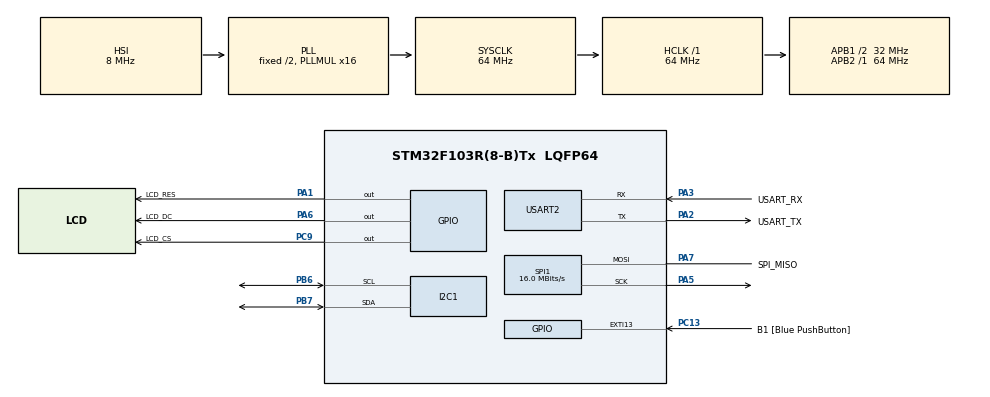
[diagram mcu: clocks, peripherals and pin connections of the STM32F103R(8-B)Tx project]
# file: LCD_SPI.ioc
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Mcu.Family=STM32F1
Mcu.Name=STM32F103R(8-B)Tx
Mcu.Package=LQFP64
NVIC.EXTI15_10_IRQn=true\:0\:0\:false\:false\:true\:true\:true\:true
NVIC.PriorityGroup=NVIC_PRIORITYGROUP_4
PA1.GPIO_Label=LCD_RES
PA1.Signal=GPIO_Output
PA13.GPIO_Label=TMS
PA13.Mode=Serial_Wire
PA13.Signal=SYS_JTMS-SWDIO
PA14.GPIO_Label=TCK
PA14.Mode=Serial_Wire
PA14.Signal=SYS_JTCK-SWCLK
PA2.GPIO_Label=USART_TX
PA2.GPIO_Mode=GPIO_MODE_AF_PP
PA2.GPIO_PuPd=GPIO_NOPULL
PA2.GPIO_Speed=GPIO_SPEED_FREQ_LOW
PA2.Mode=Asynchronous
PA2.Signal=USART2_TX
PA3.GPIO_Label=USART_RX
PA3.GPIO_Mode=GPIO_MODE_AF_PP
PA3.GPIO_PuPd=GPIO_NOPULL
PA3.GPIO_Speed=GPIO_SPEED_FREQ_LOW
PA3.Mode=Asynchronous
PA3.Signal=USART2_RX
PA5.Mode=Simplex_Bidirectional_Master
PA5.Signal=SPI1_SCK
PA6.GPIO_Label=LCD_DC
PA6.Signal=GPIO_Output
PA7.GPIO_Label=SPI_MISO
PA7.Mode=Simplex_Bidirectional_Master
PA7.Signal=SPI1_MOSI
PB3.GPIO_Label=SWO
PB3.Signal=SYS_JTDO-TRACESWO
PB6.Mode=I2C
PB6.Signal=I2C1_SCL
PB7.Mode=I2C
PB7.Signal=I2C1_SDA
PC13-TAMPER-RTC.GPIO_Label=B1 [Blue PushButton]
PC13-TAMPER-RTC.GPIO_PuPd=GPIO_NOPULL
PC13-TAMPER-RTC.Signal=GPXTI13
PC14-OSC32_IN.Signal=RCC_OSC32_IN
PC15-OSC32_OUT.Signal=RCC_OSC32_OUT
PC9.GPIO_Label=LCD_CS
PC9.Signal=GPIO_Output
PD0-OSC_IN.Signal=RCC_OSC_IN
PD1-OSC_OUT.Signal=RCC_OSC_OUT
ProjectManager.HeapSize=0x200
ProjectManager.StackSize=0x400
ProjectManager.TargetToolchain=STM32CubeIDE
RCC.AHBFreq_Value=64000000
RCC.APB1CLKDivider=RCC_HCLK_DIV2
RCC.APB1Freq_Value=32000000
RCC.APB1TimFreq_Value=64000000
RCC.APB2Freq_Value=64000000
RCC.APB2TimFreq_Value=64000000
RCC.HCLKFreq_Value=64000000
RCC.PLLMUL=RCC_PLL_MUL16
RCC.RTCClockSelection=RCC_RTCCLKSOURCE_LSE
RCC.SYSCLKFreq_VALUE=64000000
RCC.SYSCLKSource=RCC_SYSCLKSOURCE_PLLCLK
RCC.USBFreq_Value=64000000
SPI1.BaudRatePrescaler=SPI_BAUDRATEPRESCALER_4
SPI1.CalculateBaudRate=16.0 MBits/s
SPI1.Direction=SPI_DIRECTION_1LINE
SPI1.Mode=SPI_MODE_MASTER
SPI1.VirtualType=VM_MASTER
USART2.VirtualMode=VM_ASYNC
board=NUCLEO-F103RB

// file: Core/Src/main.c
/* USER CODE BEGIN Header */
/**
  ******************************************************************************
  * @file           : main.c
  * @brief          : Main program body
  ******************************************************************************
  * @attention
  *
  * Copyright (c) 2025 STMicroelectronics.
  * All rights reserved.
  *
  * This software is licensed under terms that can be found in the LICENSE file
  * in the root directory of this software component.
  * If no LICENSE file comes with this software, it is provided AS-IS.
  *
  ******************************************************************************
  */
/* USER CODE END Header */
#include "main.h"

/* USER CODE BEGIN Includes */
#include <string.h>
#include <stdio.h>
/* USER CODE END Includes */

/* USER CODE BEGIN PD */

#define K24C256_ADDR        0xA0    // K24C256 I2C 주소 (A0,A1,A2 = 000)
#define EEPROM_PAGE_SIZE    64      // K24C256 페이지 크기 (64 bytes)
#define EEPROM_SIZE         32768   // K24C256 총 크기 (32KB)
#define TEST_ADDRESS        0x0000  // 테스트용 주소
// ST7735S Commands
#define ST7735_NOP     0x00
#define ST7735_SWRESET 0x01
#define ST7735_RDDID   0x04
#define ST7735_RDDST   0x09
#define ST7735_SLPIN   0x10
#define ST7735_SLPOUT  0x11
#define ST7735_PTLON   0x12
#define ST7735_NORON   0x13
#define ST7735_INVOFF  0x20
#define ST7735_INVON   0x21
#define ST7735_DISPOFF 0x28
#define ST7735_DISPON  0x29
#define ST7735_CASET   0x2A
#define ST7735_RASET   0x2B
#define ST7735_RAMWR   0x2C
#define ST7735_RAMRD   0x2E
#define ST7735_PTLAR   0x30
#define ST7735_COLMOD  0x3A
#define ST7735_MADCTL  0x36
#define ST7735_FRMCTR1 0xB1
#define ST7735_FRMCTR2 0xB2
#define ST7735_FRMCTR3 0xB3
#define ST7735_INVCTR  0xB4
#define ST7735_DISSET5 0xB6
#define ST7735_PWCTR1  0xC0
#define ST7735_PWCTR2  0xC1
#define ST7735_PWCTR3  0xC2
#define ST7735_PWCTR4  0xC3
#define ST7735_PWCTR5  0xC4
#define ST7735_VMCTR1  0xC5
#define ST7735_RDID1   0xDA
#define ST7735_RDID2   0xDB
#define ST7735_RDID3   0xDC
#define ST7735_RDID4   0xDD
#define ST7735_GMCTRP1 0xE0
#define ST7735_GMCTRN1 0xE1

// LCD dimensions
#define LCD_WIDTH  160
#define LCD_HEIGHT 120 //80

// Colors (RGB565)
#define BLACK   0x0000
#define WHITE   0xFFFF
#define RED     0xF800
#define GREEN   0x07E0
#define BLUE    0x001F
#define CYAN    0x07FF
#define MAGENTA 0xF81F
#define YELLOW  0xFFE0
#define BROWN 0x9A40 // 갈색 (대략적인 값)
/* USER CODE END PD */

/* USER CODE BEGIN PM */
// Pin control macros
#define LCD_CS_LOW()   HAL_GPIO_WritePin(GPIOC, GPIO_PIN_9, GPIO_PIN_RESET)
#define LCD_CS_HIGH()  HAL_GPIO_WritePin(GPIOC, GPIO_PIN_9, GPIO_PIN_SET)
#define LCD_DC_LOW()   HAL_GPIO_WritePin(GPIOA, GPIO_PIN_6, GPIO_PIN_RESET)
#define LCD_DC_HIGH()  HAL_GPIO_WritePin(GPIOA, GPIO_PIN_6, GPIO_PIN_SET)
#define LCD_RES_LOW()  HAL_GPIO_WritePin(GPIOA, GPIO_PIN_1, GPIO_PIN_RESET)
#define LCD_RES_HIGH() HAL_GPIO_WritePin(GPIOA, GPIO_PIN_1, GPIO_PIN_SET)
/* USER CODE END PM */

I2C_HandleTypeDef hi2c1;

SPI_HandleTypeDef hspi1;

UART_HandleTypeDef huart2;

/* USER CODE BEGIN PV */

uint8_t i2c_scan_found = 0;
uint8_t eeprom_address = 0;
// Simple 8x8 font (ASCII 32-127) - subset for demonstration
static const uint8_t font8x8[][8] = {
    {0x00, 0x00, 0x00, 0x00, 0x00, 0x00, 0x00, 0x00}, // ' ' (Space)
    {0x18, 0x3C, 0x3C, 0x18, 0x18, 0x00, 0x18, 0x00}, // '!'
    {0x36, 0x36, 0x00, 0x00, 0x00, 0x00, 0x00, 0x00}, // '"'
    {0x36, 0x36, 0x7F, 0x36, 0x7F, 0x36, 0x36, 0x00}, // '#'
    {0x0C, 0x3E, 0x03, 0x1E, 0x30, 0x1F, 0x0C, 0x00}, // '$'
    {0x00, 0x63, 0x33, 0x18, 0x0C, 0x66, 0x63, 0x00}, // '%'
    {0x1C, 0x36, 0x1C, 0x6E, 0x3B, 0x33, 0x6E, 0x00}, // '&'
    {0x06, 0x06, 0x03, 0x00, 0x00, 0x00, 0x00, 0x00}, // '''
    {0x18, 0x0C, 0x06, 0x06, 0x06, 0x0C, 0x18, 0x00}, // '('
    {0x06, 0x0C, 0x18, 0x18, 0x18, 0x0C, 0x06, 0x00}, // ')'
    {0x00, 0x66, 0x3C, 0xFF, 0x3C, 0x66, 0x00, 0x00}, // '*'
    {0x00, 0x0C, 0x0C, 0x3F, 0x0C, 0x0C, 0x00, 0x00}, // '+'
    {0x00, 0x00, 0x00, 0x00, 0x00, 0x0C, 0x06, 0x00}, // ','
    {0x00, 0x00, 0x00, 0x3F, 0x00, 0x00, 0x00, 0x00}, // '-'
    {0x00, 0x00, 0x00, 0x00, 0x00, 0x0C, 0x0C, 0x00}, // '.'
    {0x60, 0x30, 0x18, 0x0C, 0x06, 0x03, 0x01, 0x00}, // '/'
    {0x3E, 0x63, 0x73, 0x7B, 0x6F, 0x67, 0x3E, 0x00}, // '0'
    {0x0C, 0x0E, 0x0C, 0x0C, 0x0C, 0x0C, 0x3F, 0x00}, // '1'
    {0x1E, 0x33, 0x30, 0x1C, 0x06, 0x33, 0x3F, 0x00}, // '2'
    {0x1E, 0x33, 0x30, 0x1C, 0x30, 0x33, 0x1E, 0x00}, // '3'
    {0x38, 0x3C, 0x36, 0x33, 0x7F, 0x30, 0x78, 0x00}, // '4'
    {0x3F, 0x03, 0x1F, 0x30, 0x30, 0x33, 0x1E, 0x00}, // '5'
    {0x1C, 0x06, 0x03, 0x1F, 0x33, 0x33, 0x1E, 0x00}, // '6'
    {0x3F, 0x33, 0x30, 0x18, 0x0C, 0x0C, 0x0C, 0x00}, // '7'
    {0x1E, 0x33, 0x33, 0x1E, 0x33, 0x33, 0x1E, 0x00}, // '8'
    {0x1E, 0x33, 0x33, 0x3E, 0x30, 0x18, 0x0E, 0x00}, // '9'
    {0x00, 0x0C, 0x0C, 0x00, 0x00, 0x0C, 0x0C, 0x00}, // ':'
    {0x00, 0x0C, 0x0C, 0x00, 0x00, 0x0C, 0x06, 0x00}, // ';'
    {0x18, 0x0C, 0x06, 0x03, 0x06, 0x0C, 0x18, 0x00}, // '<'
    {0x00, 0x00, 0x3F, 0x00, 0x00, 0x3F, 0x00, 0x00}, // '='
    {0x06, 0x0C, 0x18, 0x30, 0x18, 0x0C, 0x06, 0x00}, // '>'
    {0x1E, 0x33, 0x30, 0x18, 0x0C, 0x00, 0x0C, 0x00}, // '?'
    {0x3E, 0x63, 0x7B, 0x7B, 0x7B, 0x03, 0x1E, 0x00}, // '@'
    {0x0C, 0x1E, 0x33, 0x33, 0x3F, 0x33, 0x33, 0x00}, // 'A'
    {0x3F, 0x66, 0x66, 0x3E, 0x66, 0x66, 0x3F, 0x00}, // 'B'
    {0x3C, 0x66, 0x03, 0x03, 0x03, 0x66, 0x3C, 0x00}, // 'C'
    {0x1F, 0x36, 0x66, 0x66, 0x66, 0x36, 0x1F, 0x00}, // 'D'
    {0x7F, 0x46, 0x16, 0x1E, 0x16, 0x46, 0x7F, 0x00}, // 'E'
    {0x7F, 0x46, 0x16, 0x1E, 0x16, 0x06, 0x0F, 0x00}, // 'F'
    {0x3C, 0x66, 0x03, 0x03, 0x73, 0x66, 0x7C, 0x00}, // 'G'
    {0x33, 0x33, 0x33, 0x3F, 0x33, 0x33, 0x33, 0x00}, // 'H'
    {0x1E, 0x0C, 0x0C, 0x0C, 0x0C, 0x0C, 0x1E, 0x00}, // 'I'
    {0x78, 0x30, 0x30, 0x30, 0x33, 0x33, 0x1E, 0x00}, // 'J'
    {0x67, 0x66, 0x36, 0x1E, 0x36, 0x66, 0x67, 0x00}, // 'K'
    {0x0F, 0x06, 0x06, 0x06, 0x46, 0x66, 0x7F, 0x00}, // 'L'
    {0x63, 0x77, 0x7F, 0x7F, 0x6B, 0x63, 0x63, 0x00}, // 'M'
    {0x63, 0x67, 0x6F, 0x7B, 0x73, 0x63, 0x63, 0x00}, // 'N'
    {0x1C, 0x36, 0x63, 0x63, 0x63, 0x36, 0x1C, 0x00}, // 'O'
    {0x3F, 0x66, 0x66, 0x3E, 0x06, 0x06, 0x0F, 0x00}, // 'P'
    {0x1E, 0x33, 0x33, 0x33, 0x3B, 0x1E, 0x38, 0x00}, // 'Q'
    {0x3F, 0x66, 0x66, 0x3E, 0x36, 0x66, 0x67, 0x00}, // 'R'
    {0x1E, 0x33, 0x07, 0x0E, 0x38, 0x33, 0x1E, 0x00}, // 'S'
    {0x3F, 0x2D, 0x0C, 0x0C, 0x0C, 0x0C, 0x1E, 0x00}, // 'T'
    {0x33, 0x33, 0x33, 0x33, 0x33, 0x33, 0x3F, 0x00}, // 'U'
    {0x33, 0x33, 0x33, 0x33, 0x33, 0x1E, 0x0C, 0x00}, // 'V'
    {0x63, 0x63, 0x63, 0x6B, 0x7F, 0x77, 0x63, 0x00}, // 'W'
    {0x63, 0x63, 0x36, 0x1C, 0x1C, 0x36, 0x63, 0x00}, // 'X'
    {0x33, 0x33, 0x33, 0x1E, 0x0C, 0x0C, 0x1E, 0x00}, // 'Y'
    {0x7F, 0x63, 0x31, 0x18, 0x4C, 0x66, 0x7F, 0x00}, // 'Z'
    {0x1E, 0x06, 0x06, 0x06, 0x06, 0x06, 0x1E, 0x00}, // '['
    {0x03, 0x06, 0x0C, 0x18, 0x30, 0x60, 0x40, 0x00}, // '\'
    {0x1E, 0x18, 0x18, 0x18, 0x18, 0x18, 0x1E, 0x00}, // ']'
    {0x08, 0x1C, 0x36, 0x63, 0x00, 0x00, 0x00, 0x00}, // '^'
    {0x00, 0x00, 0x00, 0x00, 0x00, 0x00, 0x00, 0xFF}, // '_'
    {0x0C, 0x0C, 0x18, 0x00, 0x00, 0x00, 0x00, 0x00}, // '`'
    {0x00, 0x00, 0x1E, 0x30, 0x3E, 0x33, 0x6E, 0x00}, // 'a'
    {0x07, 0x06, 0x06, 0x3E, 0x66, 0x66, 0x3B, 0x00}, // 'b'
    {0x00, 0x00, 0x1E, 0x33, 0x03, 0x33, 0x1E, 0x00}, // 'c'
    {0x38, 0x30, 0x30, 0x3e, 0x33, 0x33, 0x6E, 0x00}, // 'd'
    {0x00, 0x00, 0x1E, 0x33, 0x3f, 0x03, 0x1E, 0x00}, // 'e'
    {0x1C, 0x36, 0x06, 0x0f, 0x06, 0x06, 0x0F, 0x00}, // 'f'
    {0x00, 0x00, 0x6E, 0x33, 0x33, 0x3E, 0x30, 0x1F}, // 'g'
    {0x07, 0x06, 0x36, 0x6E, 0x66, 0x66, 0x67, 0x00}, // 'h'
    {0x0C, 0x00, 0x0E, 0x0C, 0x0C, 0x0C, 0x1E, 0x00}, // 'i'
    {0x30, 0x00, 0x30, 0x30, 0x30, 0x33, 0x33, 0x1E}, // 'j'
    {0x07, 0x06, 0x66, 0x36, 0x1E, 0x36, 0x67, 0x00}, // 'k'
    {0x0E, 0x0C, 0x0C, 0x0C, 0x0C, 0x0C, 0x1E, 0x00}, // 'l'
    {0x00, 0x00, 0x33, 0x7F, 0x7F, 0x6B, 0x63, 0x00}, // 'm'
    {0x00, 0x00, 0x1F, 0x33, 0x33, 0x33, 0x33, 0x00}, // 'n'
    {0x00, 0x00, 0x1E, 0x33, 0x33, 0x33, 0x1E, 0x00}, // 'o'
    {0x00, 0x00, 0x3B, 0x66, 0x66, 0x3E, 0x06, 0x0F}, // 'p'
    {0x00, 0x00, 0x6E, 0x33, 0x33, 0x3E, 0x30, 0x78}, // 'q'
    {0x00, 0x00, 0x3B, 0x6E, 0x66, 0x06, 0x0F, 0x00}, // 'r'
    {0x00, 0x00, 0x3E, 0x03, 0x1E, 0x30, 0x1F, 0x00}, // 's'
    {0x08, 0x0C, 0x3E, 0x0C, 0x0C, 0x2C, 0x18, 0x00}, // 't'
    {0x00, 0x00, 0x33, 0x33, 0x33, 0x33, 0x6E, 0x00}, // 'u'
    {0x00, 0x00, 0x33, 0x33, 0x33, 0x1E, 0x0C, 0x00}, // 'v'
    {0x00, 0x00, 0x63, 0x6B, 0x7F, 0x7F, 0x36, 0x00}, // 'w'
    {0x00, 0x00, 0x63, 0x36, 0x1C, 0x36, 0x63, 0x00}, // 'x'
    {0x00, 0x00, 0x33, 0x33, 0x33, 0x3E, 0x30, 0x1F}, // 'y'
    {0x00, 0x00, 0x3F, 0x19, 0x0C, 0x26, 0x3F, 0x00}, // 'z'
    {0x38, 0x0C, 0x0C, 0x07, 0x0C, 0x0C, 0x38, 0x00}, // '{'
    {0x18, 0x18, 0x18, 0x00, 0x18, 0x18, 0x18, 0x00}, // '|'
    {0x07, 0x0C, 0x0C, 0x38, 0x0C, 0x0C, 0x07, 0x00}, // '}'
    {0x6E, 0x3B, 0x00, 0x00, 0x00, 0x00, 0x00, 0x00}, // '~'
};
/* USER CODE END PV */

void SystemClock_Config(void);
static void MX_GPIO_Init(void);
static void MX_USART2_UART_Init(void);
static void MX_SPI1_Init(void);
static void MX_I2C1_Init(void);
/* USER CODE BEGIN PFP */

void I2C_Scan(void);
HAL_StatusTypeDef EEPROM_Write(uint16_t mem_addr, uint8_t *data, uint16_t size);
HAL_StatusTypeDef EEPROM_Read(uint16_t mem_addr, uint8_t *data, uint16_t size);
void EEPROM_Test(void);
void Test_0xB0_Device(void);
// LCD function prototypes
void LCD_WriteCommand(uint8_t cmd);
void LCD_WriteData(uint8_t data);
void LCD_WriteData16(uint16_t data);
void LCD_Init(void);
void LCD_SetWindow(uint8_t x0, uint8_t y0, uint8_t x1, uint8_t y1);
void LCD_DrawPixel(uint8_t x, uint8_t y, uint16_t color);
void LCD_Fill(uint16_t color);
void LCD_DrawChar(uint8_t x, uint8_t y, char ch, uint16_t color, uint16_t bg_color);
void LCD_DrawString(uint8_t x, uint8_t y, const char* str, uint16_t color, uint16_t bg_color);
/* USER CODE END PFP */

/* USER CODE BEGIN 0 */

#ifdef __GNUC__
/* With GCC, small printf (option LD Linker->Libraries->Small printf
   set to 'Yes') calls __io_putchar() */
#define PUTCHAR_PROTOTYPE int __io_putchar(int ch)
#else
#define PUTCHAR_PROTOTYPE int fputc(int ch, FILE *f)
#endif /* __GNUC__ */

/**
  * @brief  Retargets the C library printf function to the USART.
  * @param  None
  * @retval None
  */
PUTCHAR_PROTOTYPE
{
  /* Place your implementation of fputc here */
  /* e.g. write a character to the USART2 and Loop until the end of transmission */
  if (ch == '\n')
    HAL_UART_Transmit(&huart2, (uint8_t*)"\r", 1, 0xFFFF);
  HAL_UART_Transmit(&huart2, (uint8_t*)&ch, 1, 0xFFFF);

  return ch;
}

/**
  * @brief  I2C 주소 스캔 함수
  * @param  None
  * @retval None
  */
void I2C_Scan(void)
{
  printf("\n=== I2C Address Scan ===\n");
  printf("Scanning I2C bus...\n");

  i2c_scan_found = 0;

  for(uint8_t i = 0; i < 128; i++) // 7비트 주소(i) 0부터 127까지 반복
  {
    if(HAL_I2C_IsDeviceReady(&hi2c1, (uint16_t)(i<<1), 3, 5) == HAL_OK)
    	// I2C 주소를 8비트 형식으로 받음, 왼쪽으로 1비트 쉬프트 하면 7비트(i)가 8비트 슬레이브 주소로 만들어짐
    	// 슬레이브 주소: 특정 장치 호출할 때 사용, 지금은 EEPROM 장치의 주소가 되는 거임
    	//HAL_I2C_IsDeviceReady(사용할 I2C, 8비트 슬레이브 주소, 시도횟수, 타임아웃시간) == 응답 반환
    {
      printf("Found I2C device at address: 0x%02X (7-bit: 0x%02X)\n", (i<<1), i);
      i2c_scan_found++;

      // K24C256 주소 범위 확인 (0xA0~0xAE) 왜 이 범위인 거임?
      // 1010 A2 A1 A0
      // 상위 4비트: 고정값, EEPROM 종류를 나타내는 디바이스 타입 코드
      // 하위 3비트: EEPROM 칩의 A2, A1, A0 핀을 GND나 VCC에 연결하여 설정하는 하드웨어 주소

      if((i<<1) >= 0xA0 && (i<<1) <= 0xAE)
      {
        eeprom_address = (i<<1); // 응답 주소가 범위 내에 있으면, 해당 주소를 저장하고 테스트에 활용
        printf("** K24C256 EEPROM detected at 0x%02X **\n", eeprom_address);
      }
    }
  }

  if(i2c_scan_found == 0)
  {
    printf("No I2C devices found!\n");
  }
  else
  {
    printf("Total %d I2C device(s) found.\n", i2c_scan_found);
  }
  printf("========================\n\n");
}

/**
  * @brief  EEPROM 쓰기 함수
  * @param  mem_addr: 메모리 주소
  * @param  data: 쓸 데이터 포인터
  * @param  size: 데이터 크기
  * @retval HAL_StatusTypeDef
  */
HAL_StatusTypeDef EEPROM_Write(uint16_t mem_addr, uint8_t *data, uint16_t size)
{
  HAL_StatusTypeDef status = HAL_OK;
  uint16_t bytes_to_write;
  uint16_t current_addr = mem_addr;
  uint16_t data_index = 0;

  while(size > 0)
  {
    // 페이지 경계를 고려한 쓰기 크기 계산
    bytes_to_write = EEPROM_PAGE_SIZE - (current_addr % EEPROM_PAGE_SIZE);
    if(bytes_to_write > size)
      bytes_to_write = size;

    // EEPROM에 쓰기
    status = HAL_I2C_Mem_Write(&hi2c1, eeprom_address, current_addr,I2C_MEMADD_SIZE_16BIT, &data[data_index], bytes_to_write, HAL_MAX_DELAY);

    if(status != HAL_OK)
    {
      printf("EEPROM Write Error at address 0x%04X\n", current_addr);
      return status;
    }

    // EEPROM 쓰기 완료 대기 (Write Cycle Time)
    HAL_Delay(5);

    // 다음 쓰기를 위한 변수 업데이트
    current_addr += bytes_to_write;
    data_index += bytes_to_write;
    size -= bytes_to_write;
  }

  return status;
}

/**
  * @brief  EEPROM 읽기 함수
  * @param  mem_addr: 메모리 주소
  * @param  data: 읽을 데이터 포인터
  * @param  size: 데이터 크기
  * @retval HAL_StatusTypeDef
  */
HAL_StatusTypeDef EEPROM_Read(uint16_t mem_addr, uint8_t *data, uint16_t size)
{
  return HAL_I2C_Mem_Read(&hi2c1, eeprom_address, mem_addr, I2C_MEMADD_SIZE_16BIT, data, size, HAL_MAX_DELAY);
}

/**
  * @brief  EEPROM 테스트 함수
  * @param  None
  * @retval None
  */
void EEPROM_Test(void)
{
  if(eeprom_address == 0)
  {
    printf("EEPROM not detected! Cannot perform test.\n\n");
    return;
  }

  printf("=== EEPROM Test ===\n");

  // 테스트 데이터 준비
  char write_data[] = "Hello, STM32F103 with K24C256 EEPROM!";
  uint8_t read_data[100] = {0};
  uint16_t data_len = strlen(write_data);

  printf("Test Address: 0x%04X\n", TEST_ADDRESS);
  printf("Write Data: \"%s\" (%d bytes)\n", write_data, data_len);

  // EEPROM에 데이터 쓰기
  printf("Writing to EEPROM...\n");
  if(EEPROM_Write(TEST_ADDRESS, (uint8_t*)write_data, data_len) == HAL_OK)
  {
    printf("Write successful!\n");
  }
  else
  {
    printf("Write failed!\n");
    return;
  }

  // 잠시 대기
  HAL_Delay(10);

  // EEPROM에서 데이터 읽기
  printf("Reading from EEPROM...\n");
  if(EEPROM_Read(TEST_ADDRESS, read_data, data_len) == HAL_OK)
  {
    printf("Read successful!\n");
    printf("Read Data: \"%s\" (%d bytes)\n", (char*)read_data, data_len);

    // 데이터 비교
    if(memcmp(write_data, read_data, data_len) == 0)
    {
      printf("** Data verification PASSED! **\n");
    }
    else
    {
      printf("** Data verification FAILED! **\n");
    }
  }
  else
  {
    printf("Read failed!\n");
  }

  printf("===================\n\n");

  // 추가 테스트: 숫자 데이터
  printf("=== Number Data Test ===\n");
  uint8_t num_write[10] = {0, 1, 2, 3, 4, 5, 6, 7, 8, 9};
  uint8_t num_read[10] = {0};
  uint16_t num_addr = TEST_ADDRESS + 100;

  printf("Writing numbers 0-9 to address 0x%04X...\n", num_addr);
  if(EEPROM_Write(num_addr, num_write, 10) == HAL_OK)
  {
    HAL_Delay(10);

    if(EEPROM_Read(num_addr, num_read, 10) == HAL_OK)
    {
      printf("Write Data: ");
      for(int i = 0; i < 10; i++) printf("%d ", num_write[i]);
      printf("\n");

      printf("Read Data:  ");
      for(int i = 0; i < 10; i++) printf("%d ", num_read[i]);
      printf("\n");

      if(memcmp(num_write, num_read, 10) == 0)
      {
        printf("** Number test PASSED! **\n");
      }
      else
      {
        printf("** Number test FAILED! **\n");
      }
    }
  }
  printf("========================\n\n");
}

void Test_0xB0_Device(void)
{
  printf("=== Testing 0xB0 Device Identity ===\n");
  printf("Checking if 0xB0 is an extended memory block...\n\n");

  uint8_t write_data[] = "Block1Test";
  uint8_t read_data[20] = {0};
  uint16_t test_addr = 0x0100;
  HAL_StatusTypeDef status;

  // 테스트 1: EEPROM처럼 동작하는지 확인
  printf("Test 1: Writing to 0xB0 at address 0x%04X...\n", test_addr);
  status = HAL_I2C_Mem_Write(&hi2c1, 0xB0, test_addr,
                             I2C_MEMADD_SIZE_16BIT, write_data,
                             strlen((char*)write_data), HAL_MAX_DELAY);

  if(status == HAL_OK)
  {
    printf("  Write to 0xB0: SUCCESS\n");
    HAL_Delay(10);

    // 읽기 시도
    printf("Test 2: Reading from 0xB0 at address 0x%04X...\n", test_addr);
    status = HAL_I2C_Mem_Read(&hi2c1, 0xB0, test_addr,
                              I2C_MEMADD_SIZE_16BIT, read_data,
                              strlen((char*)write_data), HAL_MAX_DELAY);

    if(status == HAL_OK)
    {
      printf("  Read from 0xB0: SUCCESS\n");
      printf("  Write Data: \"%s\"\n", write_data);
      printf("  Read Data:  \"%s\"\n", read_data);

      if(memcmp(write_data, read_data, strlen((char*)write_data)) == 0)
      {
        printf("\n** 0xB0 IS A VALID EEPROM BLOCK! **\n");
        printf("** Your chip is likely 64KB (512Kbit), not 32KB! **\n");
        printf("** Block 0 (0xA0): 32KB **\n");
        printf("** Block 1 (0xB0): 32KB **\n");
        printf("** Total: 64KB available! **\n");
      }
      else
      {
        printf("\n** Data mismatch - 0xB0 behavior unclear **\n");
      }
    }
    else
    {
      printf("  Read from 0xB0: FAILED\n");
      printf("** 0xB0 accepts write but not read - unusual device **\n");
    }
  }
  else
  {
    printf("  Write to 0xB0: FAILED\n");

    // 테스트 3: 다른 프로토콜 시도
    printf("\nTest 3: Trying different access methods...\n");

    // 8비트 주소로 시도
    status = HAL_I2C_Mem_Read(&hi2c1, 0xB0, 0x00,
                              I2C_MEMADD_SIZE_8BIT, read_data, 8, 1000);
    if(status == HAL_OK)
    {
      printf("  8-bit address read: SUCCESS\n");
      printf("  Data: ");
      for(int i=0; i<8; i++) printf("%02X ", read_data[i]);
      printf("\n");
      printf("** 0xB0 is likely an RTC, sensor, or other I2C device **\n");
    }
    else
    {
      // 단순 수신 시도
      status = HAL_I2C_Master_Receive(&hi2c1, 0xB0, read_data, 8, 1000);
      if(status == HAL_OK)
      {
        printf("  Simple receive: SUCCESS\n");
        printf("  Data: ");
        for(int i=0; i<8; i++) printf("%02X ", read_data[i]);
        printf("\n");
        printf("** 0xB0 responds but protocol unclear **\n");
      }
      else
      {
        printf("  All access methods: FAILED\n");
        printf("** 0xB0 detected but not accessible **\n");
        printf("** Possible ghost address or bus issue **\n");
      }
    }
  }

  // 크로스 체크: 0xA0와 0xB0가 같은 메모리를 공유하는지 확인
  printf("\nTest 4: Cross-check with 0xA0...\n");
  memset(read_data, 0, sizeof(read_data));

  // 0xA0에 특별한 데이터 쓰기
  uint8_t marker[] = "CrossCheck";
  if(EEPROM_Write(0x0200, marker, strlen((char*)marker)) == HAL_OK)
  {
    HAL_Delay(10);

    // 0xB0의 같은 주소에서 읽기 시도
    status = HAL_I2C_Mem_Read(&hi2c1, 0xB0, 0x0200,
                              I2C_MEMADD_SIZE_16BIT, read_data,
                              strlen((char*)marker), HAL_MAX_DELAY);

    if(status == HAL_OK)
    {
      printf("  0xB0 read at 0x0200: SUCCESS\n");
      printf("  0xA0 wrote: \"%s\"\n", marker);
      printf("  0xB0 read:  \"%s\"\n", read_data);

      if(memcmp(marker, read_data, strlen((char*)marker)) == 0)
      {
        printf("\n** 0xA0 and 0xB0 share SAME memory! **\n");
        printf("** 0xB0 is an ALIAS of 0xA0 - same 32KB chip **\n");
        printf("** Your chip reports multiple addresses **\n");
      }
      else
      {
        printf("\n** 0xA0 and 0xB0 have DIFFERENT data! **\n");
        printf("** They are INDEPENDENT memory blocks **\n");
        printf("** Total 64KB confirmed! **\n");
      }
    }
    else
    {
      printf("  0xB0 read at 0x0200: FAILED\n");
      printf("** Cannot determine relationship **\n");
    }
  }

  printf("====================================\n\n");
}

void LCD_WriteCommand(uint8_t cmd) {
    LCD_CS_LOW();
    LCD_DC_LOW();
    HAL_SPI_Transmit(&hspi1, &cmd, 1, HAL_MAX_DELAY);
    LCD_CS_HIGH();
}

void LCD_WriteData(uint8_t data) {
    LCD_CS_LOW();
    LCD_DC_HIGH();
    HAL_SPI_Transmit(&hspi1, &data, 1, HAL_MAX_DELAY);
    LCD_CS_HIGH();
}

void LCD_WriteData16(uint16_t data) {
    uint8_t buffer[2];
    buffer[0] = (data >> 8) & 0xFF;
    buffer[1] = data & 0xFF;

    LCD_CS_LOW();
    LCD_DC_HIGH();
    HAL_SPI_Transmit(&hspi1, buffer, 2, HAL_MAX_DELAY);
    LCD_CS_HIGH();
}

void LCD_Init(void) {
    // Hardware reset
    LCD_RES_LOW();
    HAL_Delay(100);
    LCD_RES_HIGH();
    HAL_Delay(100);

    // Software reset
    LCD_WriteCommand(ST7735_SWRESET);
    HAL_Delay(150);

    // Out of sleep mode
    LCD_WriteCommand(ST7735_SLPOUT);
    HAL_Delay(500);

    // Frame rate control - normal mode
    LCD_WriteCommand(ST7735_FRMCTR1);
    LCD_WriteData(0x01);
    LCD_WriteData(0x2C);
    LCD_WriteData(0x2D);

    // Frame rate control - idle mode
    LCD_WriteCommand(ST7735_FRMCTR2);
    LCD_WriteData(0x01);
    LCD_WriteData(0x2C);
    LCD_WriteData(0x2D);

    // Frame rate control - partial mode
    LCD_WriteCommand(ST7735_FRMCTR3);
    LCD_WriteData(0x01);
    LCD_WriteData(0x2C);
    LCD_WriteData(0x2D);
    LCD_WriteData(0x01);
    LCD_WriteData(0x2C);
    LCD_WriteData(0x2D);

    // Display inversion control
    LCD_WriteCommand(ST7735_INVCTR);
    LCD_WriteData(0x07);

    // Power control
    LCD_WriteCommand(ST7735_PWCTR1);
    LCD_WriteData(0xA2);
    LCD_WriteData(0x02);
    LCD_WriteData(0x84);

    LCD_WriteCommand(ST7735_PWCTR2);
    LCD_WriteData(0xC5);

    LCD_WriteCommand(ST7735_PWCTR3);
    LCD_WriteData(0x0A);
    LCD_WriteData(0x00);

    LCD_WriteCommand(ST7735_PWCTR4);
    LCD_WriteData(0x8A);
    LCD_WriteData(0x2A);

    LCD_WriteCommand(ST7735_PWCTR5);
    LCD_WriteData(0x8A);
    LCD_WriteData(0xEE);

    // VCOM control
    LCD_WriteCommand(ST7735_VMCTR1);
    LCD_WriteData(0x0E);

    // Display inversion off
    LCD_WriteCommand(ST7735_INVOFF);

    // Memory access control (rotation)
    LCD_WriteCommand(ST7735_MADCTL);
    // 1. 기본 90도 회전 (추천)
    //LCD_WriteData(0x20); // MY=0, MX=0, MV=1
    // 2. 현재 사용중
    //LCD_WriteData(0xE0); // MY=1, MX=1, MV=1
    // 3. 90도 + X축만 미러링
    LCD_WriteData(0x60); // MY=0, MX=1, MV=1
    // 4. 90도 + Y축만 미러링
    //LCD_WriteData(0xA0); // MY=1, MX=0, MV=1

    // Color mode: 16-bit color
    LCD_WriteCommand(ST7735_COLMOD);
    LCD_WriteData(0x05);

    // Column address set
    LCD_WriteCommand(ST7735_CASET);
    LCD_WriteData(0x00);
    LCD_WriteData(0x00);
    LCD_WriteData(0x00);
    //LCD_WriteData(0x4F); // 79
    LCD_WriteData(0x9F); // 159

    // Row address set
    LCD_WriteCommand(ST7735_RASET);
    LCD_WriteData(0x00);
    LCD_WriteData(0x00);
    LCD_WriteData(0x00);
    //LCD_WriteData(0x9F); // 159
    // Row address set (80픽셀)
	LCD_WriteData(0x4F); // 79

    // Gamma correction
    LCD_WriteCommand(ST7735_GMCTRP1);
    LCD_WriteData(0x0f);
    LCD_WriteData(0x1a);
    LCD_WriteData(0x0f);
    LCD_WriteData(0x18);
    LCD_WriteData(0x2f);
    LCD_WriteData(0x28);
    LCD_WriteData(0x20);
    LCD_WriteData(0x22);
    LCD_WriteData(0x1f);
    LCD_WriteData(0x1b);
    LCD_WriteData(0x23);
    LCD_WriteData(0x37);
    LCD_WriteData(0x00);
    LCD_WriteData(0x07);
    LCD_WriteData(0x02);
    LCD_WriteData(0x10);

    LCD_WriteCommand(ST7735_GMCTRN1);
    LCD_WriteData(0x0f);
    LCD_WriteData(0x1b);
    LCD_WriteData(0x0f);
    LCD_WriteData(0x17);
    LCD_WriteData(0x33);
    LCD_WriteData(0x2c);
    LCD_WriteData(0x29);
    LCD_WriteData(0x2e);
    LCD_WriteData(0x30);
    LCD_WriteData(0x30);
    LCD_WriteData(0x39);
    LCD_WriteData(0x3f);
    LCD_WriteData(0x00);
    LCD_WriteData(0x07);
    LCD_WriteData(0x03);
    LCD_WriteData(0x10);

    // Normal display on
    LCD_WriteCommand(ST7735_NORON);
    HAL_Delay(10);

    // Main screen turn on
    LCD_WriteCommand(ST7735_DISPON);
    HAL_Delay(100);
}

void LCD_SetWindow(uint8_t x0, uint8_t y0, uint8_t x1, uint8_t y1) {
    // 0.96" ST7735S LCD 오프셋 적용
    uint8_t x_offset = 0;  // X축 오프셋
    uint8_t y_offset = 0;   // Y축 오프셋

    // Column address set (X축)
    LCD_WriteCommand(ST7735_CASET);
    LCD_WriteData(0x00);
    LCD_WriteData(x0 + x_offset);
    LCD_WriteData(0x00);
    LCD_WriteData(x1 + x_offset);

    // Row address set (Y축)
    LCD_WriteCommand(ST7735_RASET);
    LCD_WriteData(0x00);
    LCD_WriteData(y0 + y_offset);
    LCD_WriteData(0x00);
    LCD_WriteData(y1 + y_offset);

    // Write to RAM
    LCD_WriteCommand(ST7735_RAMWR);
}

void LCD_DrawPixel(uint8_t x, uint8_t y, uint16_t color) {
    if(x >= LCD_WIDTH || y >= LCD_HEIGHT) return;

    LCD_SetWindow(x, y, x, y);
    LCD_WriteData16(color);
}

void LCD_Fill(uint16_t color) {
    LCD_SetWindow(0, 0, LCD_WIDTH-1, LCD_HEIGHT-1);

    LCD_CS_LOW();
    LCD_DC_HIGH();

    for(uint16_t i = 0; i < LCD_WIDTH * LCD_HEIGHT; i++) {
        uint8_t buffer[2];
        buffer[0] = (color >> 8) & 0xFF;
        buffer[1] = color & 0xFF;
        HAL_SPI_Transmit(&hspi1, buffer, 2, HAL_MAX_DELAY);
    }

    LCD_CS_HIGH();
}

void LCD_DrawChar(uint8_t x, uint8_t y, char ch, uint16_t color, uint16_t bg_color) {
    if(ch < 32 || ch > 126) ch = 32; // Replace invalid chars with space

    const uint8_t* font_char = font8x8[ch - 32];

    for(uint8_t i = 0; i < 8; i++) {
        uint8_t line = font_char[i];
        for(uint8_t j = 0; j < 8; j++) {
            //if(line & (0x80 >> j)) {
        	if(line & (0x01 << j)) { // LSB부터 읽기
                LCD_DrawPixel(x + j, y + i, color);
            } else {
                LCD_DrawPixel(x + j, y + i, bg_color);
            }
        }
    }
}

void LCD_DrawString(uint8_t x, uint8_t y, const char* str, uint16_t color, uint16_t bg_color) {
    uint8_t orig_x = x;

    while(*str) {
        if(*str == '\n') {
            y += 8;
            x = orig_x;
        } else if(*str == '\r') {
            x = orig_x;
        } else {
            if(x + 8 > LCD_WIDTH) {
                x = orig_x;
                y += 8;
            }
            if(y + 8 > LCD_HEIGHT) {
                break;
            }

            LCD_DrawChar(x, y, *str, color, bg_color);
            x += 8;
        }
        str++;
    }
}
/* USER CODE END 0 */

int main(void)
{

  /* MCU Configuration--------------------------------------------------------*/

  /* Reset of all peripherals, Initializes the Flash interface and the Systick. */
  HAL_Init();

  /* Configure the system clock */
  SystemClock_Config();

  /* Initialize all configured peripherals */
  MX_GPIO_Init();
  MX_USART2_UART_Init();
  MX_SPI1_Init();
  MX_I2C1_Init();
  /* USER CODE BEGIN 2 */
  printf("\n\n");
  printf("========================================\n");
  printf("  STM32F103 I2C EEPROM K24C256 Test    \n");
  printf("  System Clock: 64MHz                  \n");
  printf("  I2C Speed: 100kHz                    \n");
  printf("========================================\n");

  // I2C 주소 스캔
  I2C_Scan();

  // EEPROM 테스트
  EEPROM_Test();
  Test_0xB0_Device();

  printf("Test completed. Entering main loop...\n\n");

  // Initialize LCD
  LCD_Init();

  // Clear screen with black background
  LCD_Fill(BLACK);

  LCD_DrawString(10, 30, "Hello World!", WHITE, BLACK);
  LCD_DrawString(10, 45, "STM32F103", GREEN, BLACK);
  LCD_DrawString(10, 60, "ST7735S LCD", CYAN, BLACK);
  LCD_DrawString(10, 75, "160x80", YELLOW, BLACK);

  /* USER CODE END 2 */

  /* Infinite loop */
  /* USER CODE BEGIN WHILE */

  uint32_t loop_count = 0;
  while (1)
  {
    /* USER CODE END WHILE */

    /* USER CODE BEGIN 3 */
	  // 10초마다 상태 출력
	  	    if(loop_count % 1000 == 0)
	  	    {
	  	      printf("System running... Loop count: %lu\n", loop_count/1000);

	  	      }

	  	    loop_count++;
	  	    HAL_Delay(10);

  }
  /* USER CODE END 3 */
}

void SystemClock_Config(void)
{
  RCC_OscInitTypeDef RCC_OscInitStruct = {0};
  RCC_ClkInitTypeDef RCC_ClkInitStruct = {0};

  /** Initializes the RCC Oscillators according to the specified parameters
  * in the RCC_OscInitTypeDef structure.
  */
  RCC_OscInitStruct.OscillatorType = RCC_OSCILLATORTYPE_HSI;
  RCC_OscInitStruct.HSIState = RCC_HSI_ON;
  RCC_OscInitStruct.HSICalibrationValue = RCC_HSICALIBRATION_DEFAULT;
  RCC_OscInitStruct.PLL.PLLState = RCC_PLL_ON;
  RCC_OscInitStruct.PLL.PLLSource = RCC_PLLSOURCE_HSI_DIV2;
  RCC_OscInitStruct.PLL.PLLMUL = RCC_PLL_MUL16;
  if (HAL_RCC_OscConfig(&RCC_OscInitStruct) != HAL_OK)
  {
    Error_Handler();
  }

  /** Initializes the CPU, AHB and APB buses clocks
  */
  RCC_ClkInitStruct.ClockType = RCC_CLOCKTYPE_HCLK|RCC_CLOCKTYPE_SYSCLK
                              |RCC_CLOCKTYPE_PCLK1|RCC_CLOCKTYPE_PCLK2;
  RCC_ClkInitStruct.SYSCLKSource = RCC_SYSCLKSOURCE_PLLCLK;
  RCC_ClkInitStruct.AHBCLKDivider = RCC_SYSCLK_DIV1;
  RCC_ClkInitStruct.APB1CLKDivider = RCC_HCLK_DIV2;
  RCC_ClkInitStruct.APB2CLKDivider = RCC_HCLK_DIV1;

  if (HAL_RCC_ClockConfig(&RCC_ClkInitStruct, FLASH_LATENCY_2) != HAL_OK)
  {
    Error_Handler();
  }
}

static void MX_I2C1_Init(void)
{

  hi2c1.Instance = I2C1;
  hi2c1.Init.ClockSpeed = 100000;
  hi2c1.Init.DutyCycle = I2C_DUTYCYCLE_2;
  hi2c1.Init.OwnAddress1 = 0;
  hi2c1.Init.AddressingMode = I2C_ADDRESSINGMODE_7BIT;
  hi2c1.Init.DualAddressMode = I2C_DUALADDRESS_DISABLE;
  hi2c1.Init.OwnAddress2 = 0;
  hi2c1.Init.GeneralCallMode = I2C_GENERALCALL_DISABLE;
  hi2c1.Init.NoStretchMode = I2C_NOSTRETCH_DISABLE;
  if (HAL_I2C_Init(&hi2c1) != HAL_OK)
  {
    Error_Handler();
  }

}

static void MX_SPI1_Init(void)
{

  /* SPI1 parameter configuration*/
  hspi1.Instance = SPI1;
  hspi1.Init.Mode = SPI_MODE_MASTER;
  hspi1.Init.Direction = SPI_DIRECTION_1LINE;
  hspi1.Init.DataSize = SPI_DATASIZE_8BIT;
  hspi1.Init.CLKPolarity = SPI_POLARITY_LOW;
  hspi1.Init.CLKPhase = SPI_PHASE_1EDGE;
  hspi1.Init.NSS = SPI_NSS_SOFT;
  hspi1.Init.BaudRatePrescaler = SPI_BAUDRATEPRESCALER_4;
  hspi1.Init.FirstBit = SPI_FIRSTBIT_MSB;
  hspi1.Init.TIMode = SPI_TIMODE_DISABLE;
  hspi1.Init.CRCCalculation = SPI_CRCCALCULATION_DISABLE;
  hspi1.Init.CRCPolynomial = 10;
  if (HAL_SPI_Init(&hspi1) != HAL_OK)
  {
    Error_Handler();
  }

}

static void MX_USART2_UART_Init(void)
{

  huart2.Instance = USART2;
  huart2.Init.BaudRate = 115200;
  huart2.Init.WordLength = UART_WORDLENGTH_8B;
  huart2.Init.StopBits = UART_STOPBITS_1;
  huart2.Init.Parity = UART_PARITY_NONE;
  huart2.Init.Mode = UART_MODE_TX_RX;
  huart2.Init.HwFlowCtl = UART_HWCONTROL_NONE;
  huart2.Init.OverSampling = UART_OVERSAMPLING_16;
  if (HAL_UART_Init(&huart2) != HAL_OK)
  {
    Error_Handler();
  }

}

static void MX_GPIO_Init(void)
{
  GPIO_InitTypeDef GPIO_InitStruct = {0};

  /* GPIO Ports Clock Enable */
  __HAL_RCC_GPIOC_CLK_ENABLE();
  __HAL_RCC_GPIOD_CLK_ENABLE();
  __HAL_RCC_GPIOA_CLK_ENABLE();
  __HAL_RCC_GPIOB_CLK_ENABLE();

  /*Configure GPIO pin Output Level */
  HAL_GPIO_WritePin(GPIOA, LCD_RES_Pin|LCD_DC_Pin, GPIO_PIN_RESET);

  /*Configure GPIO pin Output Level */
  HAL_GPIO_WritePin(LCD_CS_GPIO_Port, LCD_CS_Pin, GPIO_PIN_RESET);

  /*Configure GPIO pin : B1_Pin */
  GPIO_InitStruct.Pin = B1_Pin;
  GPIO_InitStruct.Mode = GPIO_MODE_IT_RISING;
  GPIO_InitStruct.Pull = GPIO_NOPULL;
  HAL_GPIO_Init(B1_GPIO_Port, &GPIO_InitStruct);

  /*Configure GPIO pins : LCD_RES_Pin LCD_DC_Pin */
  GPIO_InitStruct.Pin = LCD_RES_Pin|LCD_DC_Pin;
  GPIO_InitStruct.Mode = GPIO_MODE_OUTPUT_PP;
  GPIO_InitStruct.Pull = GPIO_NOPULL;
  GPIO_InitStruct.Speed = GPIO_SPEED_FREQ_LOW;
  HAL_GPIO_Init(GPIOA, &GPIO_InitStruct);

  /*Configure GPIO pin : LCD_CS_Pin */
  GPIO_InitStruct.Pin = LCD_CS_Pin;
  GPIO_InitStruct.Mode = GPIO_MODE_OUTPUT_PP;
  GPIO_InitStruct.Pull = GPIO_NOPULL;
  GPIO_InitStruct.Speed = GPIO_SPEED_FREQ_LOW;
  HAL_GPIO_Init(LCD_CS_GPIO_Port, &GPIO_InitStruct);

  /* EXTI interrupt init*/
  HAL_NVIC_SetPriority(EXTI15_10_IRQn, 0, 0);
  HAL_NVIC_EnableIRQ(EXTI15_10_IRQn);

}

void Error_Handler(void)
{
  __disable_irq();
  while (1)
  {
  }
}
